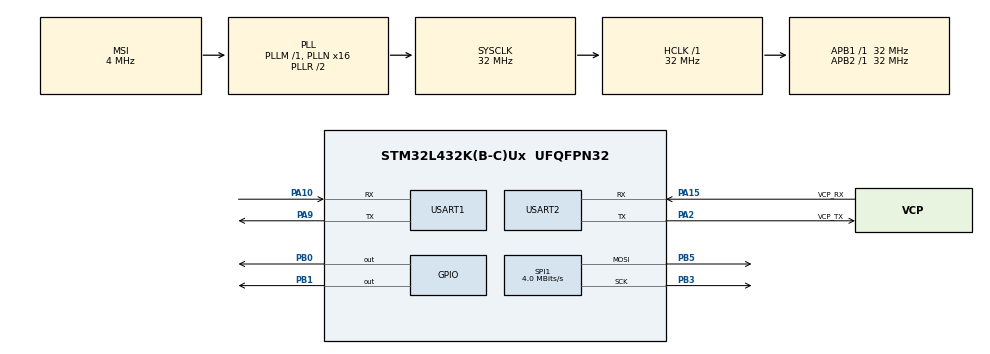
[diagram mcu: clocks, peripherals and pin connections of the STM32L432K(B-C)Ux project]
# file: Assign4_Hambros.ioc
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Dma.Request0=USART2_RX
Dma.Request1=USART1_RX
Dma.USART1_RX.1.Direction=DMA_PERIPH_TO_MEMORY
Dma.USART1_RX.1.Instance=DMA1_Channel5
Dma.USART1_RX.1.MemDataAlignment=DMA_MDATAALIGN_BYTE
Dma.USART1_RX.1.MemInc=DMA_MINC_ENABLE
Dma.USART1_RX.1.Mode=DMA_CIRCULAR
Dma.USART1_RX.1.PeriphDataAlignment=DMA_PDATAALIGN_BYTE
Dma.USART1_RX.1.PeriphInc=DMA_PINC_DISABLE
Dma.USART1_RX.1.Priority=DMA_PRIORITY_HIGH
Dma.USART2_RX.0.Direction=DMA_PERIPH_TO_MEMORY
Dma.USART2_RX.0.Instance=DMA1_Channel6
Dma.USART2_RX.0.MemDataAlignment=DMA_MDATAALIGN_BYTE
Dma.USART2_RX.0.MemInc=DMA_MINC_ENABLE
Dma.USART2_RX.0.Mode=DMA_CIRCULAR
Dma.USART2_RX.0.PeriphDataAlignment=DMA_PDATAALIGN_BYTE
Dma.USART2_RX.0.PeriphInc=DMA_PINC_DISABLE
Dma.USART2_RX.0.Priority=DMA_PRIORITY_LOW
FREERTOS.Queues01=cmdToProdManQ,4,cmd_struct,0,Dynamic,NULL,NULL;prodManToOledQ,1,oled_struct,0,Dynamic,NULL,NULL
FREERTOS.Tasks01=displayTask,24,256,StartDisplayTask,Default,NULL,Dynamic,NULL,NULL;prodManTask,8,3000,StartProdManTask,Default,NULL,Dynamic,NULL,NULL;commandTask,8,1024,StartCommandTask,Default,NULL,Dynamic,NULL,NULL
FREERTOS.configTOTAL_HEAP_SIZE=32000
FREERTOS.configUSE_NEWLIB_REENTRANT=1
Mcu.Family=STM32L4
Mcu.Name=STM32L432K(B-C)Ux
Mcu.Package=UFQFPN32
NVIC.DMA1_Channel5_IRQn=true\:5\:0\:false\:false\:true\:true\:false\:true\:true
NVIC.DMA1_Channel6_IRQn=true\:5\:0\:false\:false\:true\:true\:false\:true\:true
NVIC.PriorityGroup=NVIC_PRIORITYGROUP_4
NVIC.TIM1_UP_TIM16_IRQn=true\:15\:0\:false\:false\:true\:false\:false\:true\:true
NVIC.TimeBase=TIM1_UP_TIM16_IRQn
NVIC.TimeBaseIP=TIM16
NVIC.USART1_IRQn=true\:5\:0\:false\:false\:true\:true\:true\:true\:true
PA0.GPIO_Label=MCO [High speed clock in]
PA0.Mode=HSE-External-Clock-Source-for-LittleOrca
PA0.Signal=RCC_CK_IN
PA10.Mode=Asynchronous
PA10.Signal=USART1_RX
PA13\ (JTMS-SWDIO).GPIO_Label=SWDIO
PA13\ (JTMS-SWDIO).Mode=Serial_Wire
PA13\ (JTMS-SWDIO).Signal=SYS_JTMS-SWDIO
PA14\ (JTCK-SWCLK).GPIO_Label=SWCLK
PA14\ (JTCK-SWCLK).Mode=Serial_Wire
PA14\ (JTCK-SWCLK).Signal=SYS_JTCK-SWCLK
PA15\ (JTDI).GPIO_Label=VCP_RX
PA15\ (JTDI).Mode=Asynchronous
PA15\ (JTDI).Signal=USART2_RX
PA2.GPIO_Label=VCP_TX
PA2.Mode=Asynchronous
PA2.Signal=USART2_TX
PA9.Mode=Asynchronous
PA9.Signal=USART1_TX
PB0.Signal=GPIO_Output
PB1.Signal=GPIO_Output
PB3\ (JTDO-TRACESWO).Mode=TX_Only_Simplex_Unidirect_Master
PB3\ (JTDO-TRACESWO).Signal=SPI1_SCK
PB5.Mode=TX_Only_Simplex_Unidirect_Master
PB5.Signal=SPI1_MOSI
PC14-OSC32_IN\ (PC14).Mode=LSE-External-Oscillator
PC14-OSC32_IN\ (PC14).Signal=RCC_OSC32_IN
PC15-OSC32_OUT\ (PC15).Mode=LSE-External-Oscillator
PC15-OSC32_OUT\ (PC15).Signal=RCC_OSC32_OUT
ProjectManager.HeapSize=0x200
ProjectManager.StackSize=0x400
ProjectManager.TargetToolchain=STM32CubeIDE
RCC.AHBFreq_Value=32000000
RCC.APB1Freq_Value=32000000
RCC.APB1TimFreq_Value=32000000
RCC.APB2Freq_Value=32000000
RCC.APB2TimFreq_Value=32000000
RCC.CortexFreq_Value=32000000
RCC.HCLKFreq_Value=32000000
RCC.HSE_VALUE=8000000
RCC.HSI16_VALUE=16000000
RCC.HSI48_VALUE=48000000
RCC.HSI_VALUE=16000000
RCC.MSI_VALUE=4000000
RCC.PLLMUL=RCC_PLLMUL_4
RCC.PLLN=16
RCC.SYSCLKFreq_VALUE=32000000
RCC.SYSCLKSource=RCC_SYSCLKSOURCE_PLLCLK
RCC.VCOOutputFreq_Value=64000000
SPI1.BaudRatePrescaler=SPI_BAUDRATEPRESCALER_8
SPI1.CLKPhase=SPI_PHASE_2EDGE
SPI1.CLKPolarity=SPI_POLARITY_HIGH
SPI1.CalculateBaudRate=4.0 MBits/s
SPI1.DataSize=SPI_DATASIZE_8BIT
SPI1.Direction=SPI_DIRECTION_2LINES
SPI1.Mode=SPI_MODE_MASTER
SPI1.VirtualType=VM_MASTER
USART1.VirtualMode-Asynchronous=VM_ASYNC
USART2.VirtualMode-Asynchronous=VM_ASYNC
VP_FREERTOS_VS_CMSIS_V2.Mode=CMSIS_V2
VP_SYS_VS_tim16.Mode=TIM16
board=NUCLEO-L432KC

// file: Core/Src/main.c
/* USER CODE BEGIN Header */
/**
  ******************************************************************************
  * @file           : main.c
  * @brief          : Main program body
  ******************************************************************************
  * @attention
  *
  * Copyright (c) 2026 STMicroelectronics.
  * All rights reserved.
  *
  * This software is licensed under terms that can be found in the LICENSE file
  * in the root directory of this software component.
  * If no LICENSE file comes with this software, it is provided AS-IS.
  *
  ******************************************************************************
  */
/* USER CODE END Header */
#include "main.h"
#include "cmsis_os.h"

/* USER CODE BEGIN Includes */

#include "commandTask.h"
#include "prodManTask.h"
#include "oled.h"
#include "string.h"
#include "queue.h"

/* USER CODE END Includes */

/* USER CODE BEGIN PM */

#define UART_BUF_SIZE 256
#define BIG_UART_BUF_SIZE 128
#define MAX_COMMAND_SIZE 20
#define MAX_DATA_SIZE 128
#define MAX_PROD_MSG_SIZE 8

/* USER CODE END PM */

SPI_HandleTypeDef hspi1;

UART_HandleTypeDef huart1;
UART_HandleTypeDef huart2;
DMA_HandleTypeDef hdma_usart1_rx;
DMA_HandleTypeDef hdma_usart2_rx;

/* Definitions for displayTask */
osThreadId_t displayTaskHandle;
const osThreadAttr_t displayTask_attributes = {
  .name = "displayTask",
  .stack_size = 256 * 4,
  .priority = (osPriority_t) osPriorityNormal,
};
/* Definitions for prodManTask */
osThreadId_t prodManTaskHandle;
const osThreadAttr_t prodManTask_attributes = {
  .name = "prodManTask",
  .stack_size = 3000 * 4,
  .priority = (osPriority_t) osPriorityLow,
};
/* Definitions for commandTask */
osThreadId_t commandTaskHandle;
const osThreadAttr_t commandTask_attributes = {
  .name = "commandTask",
  .stack_size = 1024 * 4,
  .priority = (osPriority_t) osPriorityLow,
};
/* Definitions for cmdToProdManQ */
osMessageQueueId_t cmdToProdManQHandle;
const osMessageQueueAttr_t cmdToProdManQ_attributes = {
  .name = "cmdToProdManQ"
};
/* Definitions for prodManToOledQ */
osMessageQueueId_t prodManToOledQHandle;
const osMessageQueueAttr_t prodManToOledQ_attributes = {
  .name = "prodManToOledQ"
};
/* USER CODE BEGIN PV */

char uart_msg[UART_BUF_SIZE];
static uint8_t uart1_rxBuf[UART_BUF_SIZE];
static uint8_t uart2_rxBuf[UART_BUF_SIZE];
static volatile uint8_t uart_receive_char;

uint8_t data[MAX_PROD_MSG_SIZE];
int data_pos = 0;
uint16_t prod_values[256] = {0};

/* USER CODE END PV */

void SystemClock_Config(void);
static void MX_GPIO_Init(void);
static void MX_DMA_Init(void);
static void MX_USART2_UART_Init(void);
static void MX_SPI1_Init(void);
static void MX_USART1_UART_Init(void);
void StartDisplayTask(void *argument);
void StartProdManTask(void *argument);
void StartCommandTask(void *argument);

/* USER CODE BEGIN PFP */

void processProdDataByte(uint8_t rxChar, uint8_t *data, int *data_pos, uint16_t *prod_values);

/* USER CODE END PFP */

int main(void)
{

  /* MCU Configuration--------------------------------------------------------*/

  /* Reset of all peripherals, Initializes the Flash interface and the Systick. */
  HAL_Init();

  /* Configure the system clock */
  SystemClock_Config();

  /* Initialize all configured peripherals */
  MX_GPIO_Init();
  MX_DMA_Init();
  MX_USART2_UART_Init();
  MX_SPI1_Init();
  MX_USART1_UART_Init();

  /* Init scheduler */
  osKernelInitialize();

  /* Create the queue(s) */
  /* creation of cmdToProdManQ */
  cmdToProdManQHandle = osMessageQueueNew (4, sizeof(cmd_struct), &cmdToProdManQ_attributes);

  /* creation of prodManToOledQ */
  prodManToOledQHandle = osMessageQueueNew (1, sizeof(oled_struct), &prodManToOledQ_attributes);

  /* Create the thread(s) */
  /* creation of displayTask */
  displayTaskHandle = osThreadNew(StartDisplayTask, NULL, &displayTask_attributes);

  /* creation of prodManTask */
  prodManTaskHandle = osThreadNew(StartProdManTask, NULL, &prodManTask_attributes);

  /* creation of commandTask */
  commandTaskHandle = osThreadNew(StartCommandTask, NULL, &commandTask_attributes);

  /* Start scheduler */
  osKernelStart();

  /* We should never get here as control is now taken by the scheduler */

  /* Infinite loop */
  while (1)
  {

  }
}

void SystemClock_Config(void)
{
  RCC_OscInitTypeDef RCC_OscInitStruct = {0};
  RCC_ClkInitTypeDef RCC_ClkInitStruct = {0};

  /** Configure the main internal regulator output voltage
  */
  if (HAL_PWREx_ControlVoltageScaling(PWR_REGULATOR_VOLTAGE_SCALE1) != HAL_OK)
  {
    Error_Handler();
  }

  /** Configure LSE Drive Capability
  */
  HAL_PWR_EnableBkUpAccess();
  __HAL_RCC_LSEDRIVE_CONFIG(RCC_LSEDRIVE_LOW);

  /** Initializes the RCC Oscillators according to the specified parameters
  * in the RCC_OscInitTypeDef structure.
  */
  RCC_OscInitStruct.OscillatorType = RCC_OSCILLATORTYPE_LSE|RCC_OSCILLATORTYPE_MSI;
  RCC_OscInitStruct.LSEState = RCC_LSE_ON;
  RCC_OscInitStruct.MSIState = RCC_MSI_ON;
  RCC_OscInitStruct.MSICalibrationValue = 0;
  RCC_OscInitStruct.MSIClockRange = RCC_MSIRANGE_6;
  RCC_OscInitStruct.PLL.PLLState = RCC_PLL_ON;
  RCC_OscInitStruct.PLL.PLLSource = RCC_PLLSOURCE_MSI;
  RCC_OscInitStruct.PLL.PLLM = 1;
  RCC_OscInitStruct.PLL.PLLN = 16;
  RCC_OscInitStruct.PLL.PLLP = RCC_PLLP_DIV7;
  RCC_OscInitStruct.PLL.PLLQ = RCC_PLLQ_DIV2;
  RCC_OscInitStruct.PLL.PLLR = RCC_PLLR_DIV2;
  if (HAL_RCC_OscConfig(&RCC_OscInitStruct) != HAL_OK)
  {
    Error_Handler();
  }

  /** Initializes the CPU, AHB and APB buses clocks
  */
  RCC_ClkInitStruct.ClockType = RCC_CLOCKTYPE_HCLK|RCC_CLOCKTYPE_SYSCLK
                              |RCC_CLOCKTYPE_PCLK1|RCC_CLOCKTYPE_PCLK2;
  RCC_ClkInitStruct.SYSCLKSource = RCC_SYSCLKSOURCE_PLLCLK;
  RCC_ClkInitStruct.AHBCLKDivider = RCC_SYSCLK_DIV1;
  RCC_ClkInitStruct.APB1CLKDivider = RCC_HCLK_DIV1;
  RCC_ClkInitStruct.APB2CLKDivider = RCC_HCLK_DIV1;

  if (HAL_RCC_ClockConfig(&RCC_ClkInitStruct, FLASH_LATENCY_1) != HAL_OK)
  {
    Error_Handler();
  }

  /** Enable MSI Auto calibration
  */
  HAL_RCCEx_EnableMSIPLLMode();
}

static void MX_SPI1_Init(void)
{

  /* SPI1 parameter configuration*/
  hspi1.Instance = SPI1;
  hspi1.Init.Mode = SPI_MODE_MASTER;
  hspi1.Init.Direction = SPI_DIRECTION_2LINES;
  hspi1.Init.DataSize = SPI_DATASIZE_8BIT;
  hspi1.Init.CLKPolarity = SPI_POLARITY_HIGH;
  hspi1.Init.CLKPhase = SPI_PHASE_2EDGE;
  hspi1.Init.NSS = SPI_NSS_SOFT;
  hspi1.Init.BaudRatePrescaler = SPI_BAUDRATEPRESCALER_8;
  hspi1.Init.FirstBit = SPI_FIRSTBIT_MSB;
  hspi1.Init.TIMode = SPI_TIMODE_DISABLE;
  hspi1.Init.CRCCalculation = SPI_CRCCALCULATION_DISABLE;
  hspi1.Init.CRCPolynomial = 7;
  hspi1.Init.CRCLength = SPI_CRC_LENGTH_DATASIZE;
  hspi1.Init.NSSPMode = SPI_NSS_PULSE_DISABLE;
  if (HAL_SPI_Init(&hspi1) != HAL_OK)
  {
    Error_Handler();
  }

}

static void MX_USART1_UART_Init(void)
{

  huart1.Instance = USART1;
  huart1.Init.BaudRate = 115200;
  huart1.Init.WordLength = UART_WORDLENGTH_8B;
  huart1.Init.StopBits = UART_STOPBITS_1;
  huart1.Init.Parity = UART_PARITY_NONE;
  huart1.Init.Mode = UART_MODE_TX_RX;
  huart1.Init.HwFlowCtl = UART_HWCONTROL_NONE;
  huart1.Init.OverSampling = UART_OVERSAMPLING_16;
  huart1.Init.OneBitSampling = UART_ONE_BIT_SAMPLE_DISABLE;
  huart1.AdvancedInit.AdvFeatureInit = UART_ADVFEATURE_NO_INIT;
  if (HAL_UART_Init(&huart1) != HAL_OK)
  {
    Error_Handler();
  }

}

static void MX_USART2_UART_Init(void)
{

  huart2.Instance = USART2;
  huart2.Init.BaudRate = 115200;
  huart2.Init.WordLength = UART_WORDLENGTH_8B;
  huart2.Init.StopBits = UART_STOPBITS_1;
  huart2.Init.Parity = UART_PARITY_NONE;
  huart2.Init.Mode = UART_MODE_TX_RX;
  huart2.Init.HwFlowCtl = UART_HWCONTROL_NONE;
  huart2.Init.OverSampling = UART_OVERSAMPLING_16;
  huart2.Init.OneBitSampling = UART_ONE_BIT_SAMPLE_DISABLE;
  huart2.AdvancedInit.AdvFeatureInit = UART_ADVFEATURE_NO_INIT;
  if (HAL_UART_Init(&huart2) != HAL_OK)
  {
    Error_Handler();
  }

}

static void MX_DMA_Init(void)
{

  /* DMA controller clock enable */
  __HAL_RCC_DMA1_CLK_ENABLE();

  /* DMA interrupt init */
  /* DMA1_Channel5_IRQn interrupt configuration */
  HAL_NVIC_SetPriority(DMA1_Channel5_IRQn, 5, 0);
  HAL_NVIC_EnableIRQ(DMA1_Channel5_IRQn);
  /* DMA1_Channel6_IRQn interrupt configuration */
  HAL_NVIC_SetPriority(DMA1_Channel6_IRQn, 5, 0);
  HAL_NVIC_EnableIRQ(DMA1_Channel6_IRQn);

}

static void MX_GPIO_Init(void)
{
  GPIO_InitTypeDef GPIO_InitStruct = {0};

  /* GPIO Ports Clock Enable */
  __HAL_RCC_GPIOC_CLK_ENABLE();
  __HAL_RCC_GPIOA_CLK_ENABLE();
  __HAL_RCC_GPIOB_CLK_ENABLE();

  /*Configure GPIO pin Output Level */
  HAL_GPIO_WritePin(GPIOB, GPIO_PIN_0|GPIO_PIN_1, GPIO_PIN_RESET);

  /*Configure GPIO pins : PB0 PB1 */
  GPIO_InitStruct.Pin = GPIO_PIN_0|GPIO_PIN_1;
  GPIO_InitStruct.Mode = GPIO_MODE_OUTPUT_PP;
  GPIO_InitStruct.Pull = GPIO_NOPULL;
  GPIO_InitStruct.Speed = GPIO_SPEED_FREQ_LOW;
  HAL_GPIO_Init(GPIOB, &GPIO_InitStruct);

}

/* USER CODE BEGIN 4 */

void HAL_UART_RxCpltCallback(UART_HandleTypeDef *huart){
	if(huart-> Instance == USART1)
	{
		processProdDataByte(uart_receive_char, data, &data_pos, prod_values);

		/*sprintf(uart_msg, "in callback");
		HAL_UART_Transmit(&huart2, (uint8_t *)uart_msg, strlen(uart_msg), portMAX_DELAY);*/

		HAL_UART_Receive_IT(&huart1,(uint8_t*) &uart_receive_char, 1);
	}
}

uint32_t getTotalProdValue(uint16_t *prod_values){
	uint32_t totalProdValue = 0;

	for (int i = 0; i < 256; i++) {
		totalProdValue += (uint32_t) (prod_values[i]);
	}

	return totalProdValue;
}

void processProdDataByte(uint8_t rxChar, uint8_t *data, int *data_pos, uint16_t *prod_values){
	oled_struct oled_stats = {0};

	//sprintf(uart_msg, "nb");
	//HAL_UART_Transmit(&huart2, (uint8_t *)uart_msg, strlen(uart_msg), portMAX_DELAY);

	if(*data_pos >= MAX_PROD_MSG_SIZE){
		//error, should never reach here as every msg size must be <= MAX_PROD_DATA_SIZE

		sprintf(uart_msg, "\nmsg long\n\n");
		HAL_UART_Transmit(&huart2, (uint8_t *)uart_msg, strlen(uart_msg), portMAX_DELAY);

		*data_pos = 0;
		return;
	}
	else{
		data[*data_pos] = rxChar;
	}

	if(data[0] == MSG_PROD){
		if(*data_pos >= 3){
			//end of producer task msg reached
			prod_values[data[1]] = ((uint16_t)(data[2]) << 8) | (((uint16_t)data[3])&0xFF);

			*data_pos = 0;
		}
		else{
			*data_pos = *data_pos + 1;
		}
	}
	else if(data[0] < MSG_INVALID){
		if(*data_pos == 7){
			//end of info message reached

			if(data[0] == MSG_INFO_ALL){
				oled_stats.is_single_view = 0;
				oled_stats.b = getTotalProdValue(prod_values);
			}
			else if(data[0] == MSG_INFO_ONE){
				oled_stats.is_single_view = 1;
				oled_stats.b = prod_values[data[1]];
			}

			oled_stats.a = data[1];
			oled_stats.d =	(((uint32_t)data[2]) << 8)  |
							((uint32_t)data[3]);
			oled_stats.c =	(((uint32_t)data[4]) << 24) |
							(((uint32_t)data[5]) << 16) |
							(((uint32_t)data[6]) << 8)  |
							((uint32_t)data[7]);

			xQueueOverwrite(prodManToOledQHandle, &oled_stats);

			sprintf(uart_msg, "is single?: %u, a: %u, b: %lu, c: %lu, d: %u\n", oled_stats.is_single_view, oled_stats.a, oled_stats.b, oled_stats.c, oled_stats.d);
			HAL_UART_Transmit(&huart2, (uint8_t *)uart_msg, strlen(uart_msg), portMAX_DELAY);

			*data_pos = 0;
		}
		else{
			*data_pos = *data_pos + 1;
		}
	}
	else{
		//error, the msg_id sent by the producer MCU is wrong

		sprintf(uart_msg, "\nwrong msg_id\n\n");
		HAL_UART_Transmit(&huart2, (uint8_t *)uart_msg, strlen(uart_msg), portMAX_DELAY);

		*data_pos = 0;
	}
}

void processCmdByte(char rxChar, char *command, int *com_pos){
    char uart_msg_cmd[UART_BUF_SIZE];

    cmd_struct parsed_cmd = {0};
    parsed_cmd.UART_command_ID = CMD_INVALID;

    if(*com_pos < MAX_COMMAND_SIZE){
        command[*com_pos] = rxChar;

        //found end of a command, parse it and change the delay value of the corresponding task
        if(command[*com_pos] == '\0'){

        	unsigned int value = 0;

            char *arg = strtok(command, " ");

            if(strcmp(arg, "delete") == 0){
            	arg = strtok(NULL, " ");
				if(sscanf(arg, "%u", &value) == 1){
					parsed_cmd.UART_command_ID = CMD_DELETE;
					parsed_cmd.thread_ID = value;
				}
            }
            else if(strcmp(arg, "create") == 0){
            	arg = strtok(NULL, " ");
				if(sscanf(arg, "%u", &value) == 1){
					parsed_cmd.UART_command_ID = CMD_CREATE;
					parsed_cmd.delay = value;
				}
            }
            else if(strcmp(arg, "show") == 0){
            	arg = strtok(NULL, " ");
            	if(strcmp(arg, "all") == 0){
            		parsed_cmd.UART_command_ID = CMD_SHOW_ALL;
            	}
            	else if(sscanf(arg, "%u", &value) == 1){
					parsed_cmd.UART_command_ID = CMD_SHOW_ONE;
					parsed_cmd.thread_ID = value;
            	}
            }

            if(parsed_cmd.UART_command_ID == CMD_INVALID){
            	sprintf(uart_msg_cmd, "Invalid command!\n");
            	HAL_UART_Transmit(&huart2, (uint8_t *)uart_msg_cmd, strlen(uart_msg_cmd), portMAX_DELAY);
            }
            else if(xQueueSend(cmdToProdManQHandle, &parsed_cmd, 0) != pdPASS){
            	sprintf(uart_msg_cmd, "Queue full, lost cmd: %u, %u, %u\n", parsed_cmd.UART_command_ID, parsed_cmd.thread_ID, parsed_cmd.delay);
            	HAL_UART_Transmit(&huart2, (uint8_t *)uart_msg_cmd, strlen(uart_msg_cmd), portMAX_DELAY);
            }
            else{
            	sprintf(uart_msg_cmd, "Sent cmd %u, task ID %u, delay %u\n", parsed_cmd.UART_command_ID, parsed_cmd.thread_ID, parsed_cmd.delay);
            	HAL_UART_Transmit(&huart2, (uint8_t *)uart_msg_cmd, strlen(uart_msg_cmd), portMAX_DELAY);
            }

            *com_pos = 0;
        }
        else{
            (*com_pos)++;
        }
    }
}

void decodeCommand(cmd_struct cmd, uint8_t *decoded_cmd){
	decoded_cmd[0] = cmd.UART_command_ID;
	decoded_cmd[1] = cmd.thread_ID;
	decoded_cmd[2] = (uint8_t) (cmd.delay >> 8);
	decoded_cmd[3] = (uint8_t) cmd.delay;
}

/* USER CODE END 4 */

void StartDisplayTask(void *argument)
{
  /* USER CODE BEGIN 5 */

	oled_struct old_stats;
	oled_struct cur_stats;

	old_stats.is_single_view = 0;

	setup_oled(&hspi1, &huart2);
	setup_screen_text(0); //do this whenever view changes

  /* Infinite loop */
  for(;;)
  {
	  if(xQueueReceive(prodManToOledQHandle, &cur_stats, 0) == pdPASS){
		  if(old_stats.is_single_view != cur_stats.is_single_view){
			  setup_screen_text(cur_stats.is_single_view);
			  old_stats.is_single_view = cur_stats.is_single_view;
		  }
		  output_to_oled(cur_stats.a, cur_stats.b, cur_stats.c, cur_stats.d);
	  }

	  osDelay(200);
  }
  /* USER CODE END 5 */
}

void StartProdManTask(void *argument)
{
  /* USER CODE BEGIN StartProdManTask */

	cmd_struct cmd;
	uint8_t cmd_raw[4];

	/*uint8_t data[MAX_PROD_MSG_SIZE];
	int data_pos = 0;*/

	uint16_t old_pos = 0;
	uint16_t pos = 0;

	if(HAL_UART_Receive_DMA(&huart1, uart1_rxBuf, UART_BUF_SIZE) != HAL_OK){
		sprintf(uart_msg, "dma fail");
		HAL_UART_Transmit(&huart2, (uint8_t *)uart_msg, strlen(uart_msg), portMAX_DELAY);
	}
	else{
		sprintf(uart_msg, "dma started");
		HAL_UART_Transmit(&huart2, (uint8_t *)uart_msg, strlen(uart_msg), portMAX_DELAY);
	}

	 /*if(HAL_UART_Receive_IT(&huart1,(uint8_t*) &uart_receive_char, 1) == HAL_OK){
		 sprintf(uart_msg, "uart it started");
		 HAL_UART_Transmit(&huart2, (uint8_t *)uart_msg, strlen(uart_msg), portMAX_DELAY);
	 }
	 else{
		 sprintf(uart_msg, "uart it failed to start");
		 HAL_UART_Transmit(&huart2, (uint8_t *)uart_msg, strlen(uart_msg), portMAX_DELAY);
	 }*/

  /* Infinite loop */
  for(;;)
  {
	  pos = UART_BUF_SIZE - __HAL_DMA_GET_COUNTER(huart1.hdmarx);

	  /*if(HAL_UART_Receive(&huart1, uart1_rxBuf, 8, 100) == HAL_OK){
		  sprintf(uart_msg, "msg: %u,%u,%u,%u,%u,%u,%u,%u\n", uart1_rxBuf[0], uart1_rxBuf[1], uart1_rxBuf[2], uart1_rxBuf[3], uart1_rxBuf[4], uart1_rxBuf[5], uart1_rxBuf[6], uart1_rxBuf[7]);
		  HAL_UART_Transmit(&huart2, (uint8_t *)uart_msg, strlen(uart_msg), portMAX_DELAY);
	  }*/

	  //sprintf(uart_msg, "p: %u, op: %u ", pos, old_pos);
	  //HAL_UART_Transmit(&huart2, (uint8_t *)uart_msg, strlen(uart_msg), portMAX_DELAY);

	  //receive data from production MCU
	  if ((pos != old_pos) && (pos < UART_BUF_SIZE))
	  {
		  if (pos > old_pos)
		  {
			  //normal case
			  for (uint16_t i = old_pos; i < pos; i++)
			  {
				  processProdDataByte(uart1_rxBuf[i], data, &data_pos, prod_values);
			  }
		  }
		  else
		  {
			  sprintf(uart_msg, "pos: %u", pos);
			  HAL_UART_Transmit(&huart2, (uint8_t *)uart_msg, strlen(uart_msg), portMAX_DELAY);

			  //wrapped around
			  for (uint16_t i = old_pos; i < UART_BUF_SIZE; i++)
			  {
				  processProdDataByte(uart1_rxBuf[i], data, &data_pos, prod_values);
			  }
			  for (uint16_t i = 0; i < pos; i++)
			  {
				  processProdDataByte(uart1_rxBuf[i], data, &data_pos, prod_values);
			  }
		  }

		  old_pos = pos;
	  }

	  //forward commands from command task to other production MCU
	  while(xQueueReceive(cmdToProdManQHandle, &cmd, 0) == pdPASS){
		  decodeCommand(cmd, cmd_raw);
		  HAL_UART_Transmit(&huart1, cmd_raw, 4, 100);
	  }

	  osDelay(1);

  }
  /* USER CODE END StartProdManTask */
}

void StartCommandTask(void *argument)
{
  /* USER CODE BEGIN StartCommandTask */

	//char uart_msg[UART_BUF_SIZE];
	char command[MAX_COMMAND_SIZE];
	int com_pos = 0;

	uint16_t old_pos = 0;
	uint16_t pos = 0;

	HAL_UART_Receive_DMA(&huart2, uart2_rxBuf, UART_BUF_SIZE);

  /* Infinite loop */
  for(;;)
  {

	  pos = UART_BUF_SIZE - __HAL_DMA_GET_COUNTER(huart2.hdmarx);

	  //this entire thing checks if new data has been received via UART and processes the data
	  if (pos != old_pos)
	  {
		  if (pos > old_pos)
		  {
			  //normal case
			  for (uint16_t i = old_pos; i < pos; i++)
			  {
				  processCmdByte(uart2_rxBuf[i], command, &com_pos);
			  }
		  }
		  else
		  {
			  //wrapped around
			  for (uint16_t i = old_pos; i < UART_BUF_SIZE; i++)
			  {
				  processCmdByte(uart2_rxBuf[i], command, &com_pos);
			  }
			  for (uint16_t i = 0; i < pos; i++)
			  {
				  processCmdByte(uart2_rxBuf[i], command, &com_pos);
			  }
		  }

		  old_pos = pos;
	  }

    osDelay(100);
  }
  /* USER CODE END StartCommandTask */
}

void HAL_TIM_PeriodElapsedCallback(TIM_HandleTypeDef *htim)
{
  if (htim->Instance == TIM16)
  {
    HAL_IncTick();
  }
}

void Error_Handler(void)
{
  __disable_irq();
  while (1)
  {
  }
}
